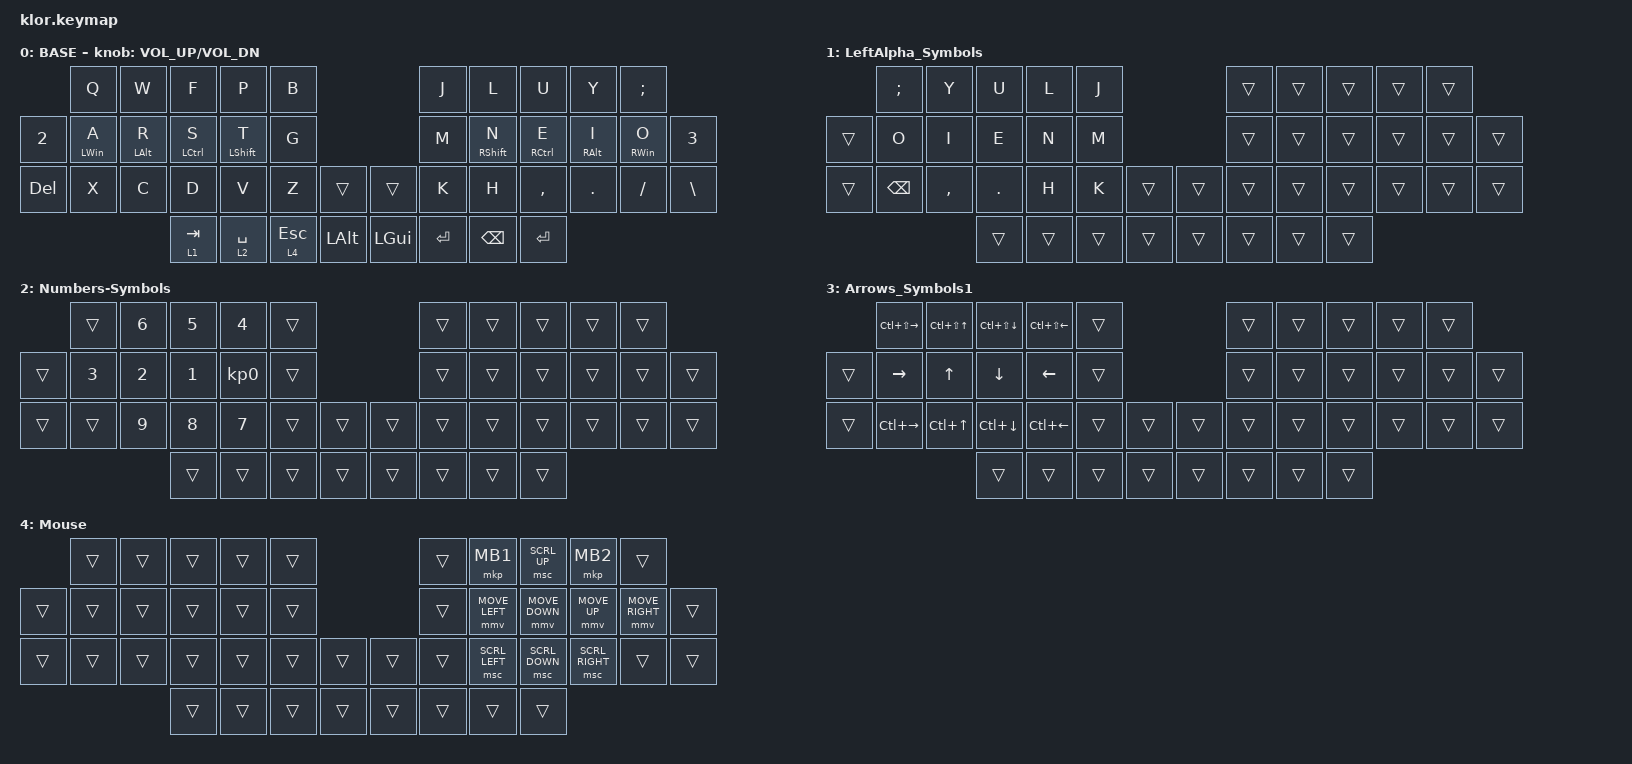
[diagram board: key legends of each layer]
//                               █         █    █            ▄▄▄▀▀▀▀▀▀▄▄▄        █▀▀▀▀▀▀▀▀▀▀█
//                               █        █     █          ▄▀            ▀▄      █          █
//                               █       █      █        ▄▀                ▀▄    █          █
//                               █      █       █        █                  █    █          █
//                               █     █        █       █                    █   █          █
//                               █    █         █       █                    █   █▄▄▄▄▄▄▄▄▄▄█
//                               █   █ █        █       █                    █   █      █
//                               █  █   █       █        █                  █    █       █
//                               █ █     █      █        ▀▄                ▄▀    █        █
//                               ██       █     █          ▀▄            ▄▀      █         █
//                               █         █    █▄▄▄▄▄▄▄▄    ▀▀▀▄▄▄▄▄▄▀▀▀        █          █
//
// ▄▄▄▄▄▄▄▄▄▄▄▄▄▄▄▄▄▄▄▄▄▄▄▄▄▄▄▄▄▄▄▄▄▄▄▄▄▄▄▄▄▄▄▄▄▄▄▄▄▄▄▄▄▄▄▄▄▄▄▄▄▄▄▄▄▄▄▄▄▄▄▄▄▄▄▄▄▄▄▄▄▄▄▄▄▄▄▄▄▄▄▄▄▄▄▄▄▄▄▄▄▄▄▄▄▄▄▄▄▄▄▄▄▄▄▄▄▄▄▄▄▄▄▄▄

#include <behaviors.dtsi>
#include <dt-bindings/zmk/ext_power.h>
#include <dt-bindings/zmk/keys.h>
#include <dt-bindings/zmk/pointing.h>

#define BASE   0
#define LOWER  1
#define RAISE  2
#define ADJUST 3

/ {
    behaviors {
        hm: homerow_mods {
            compatible = "zmk,behavior-hold-tap";
            label = "HOMEROW_MODS";
            #binding-cells = <2>;
            tapping-term-ms = <430>;
            quick_tap_ms = <0>;
            flavor = "tap-preferred";
            bindings = <&kp>, <&kp>;
        };
    };

    combos {
        compatible = "zmk,combos";

        combo_esc {
            timeout-ms = <50>;
            key-positions = <0 1>;
            bindings = <&kp ESC>;
        };

        bootloader_left {
            bindings = <&bootloader>;
            key-positions = <0 10 27>;
            timeout-ms = <100>;
            require-prior-idle-ms = <500>;
            slow-release;
        };

        bootloader_right {
            bindings = <&bootloader>;
            key-positions = <9 21 30>;
            timeout-ms = <100>;
            require-prior-idle-ms = <500>;
            slow-release;
        };

        Wake_up {
            bindings = <&ext_power EP_TOG>;
            key-positions = <16 5>;
        };
    };

    macros {
        ctrl_left: ctrl_left {
            compatible = "zmk,behavior-macro";
            #binding-cells = <0>;
            bindings = <&kp LC(LEFT_ARROW)>;
            label = "CTRL_LEFT";
        };
    };

    keymap {
        compatible = "zmk,keymap";

        // ▄▄▄▄▄▄▄▄▄▄▄▄▄▄▄▄▄▄▄▄▄▄▄▄▄▄▄▄▄▄▄▄▄▄▄▄▄▄▄▄▄▄▄▄▄▄▄▄▄▄▄▄▄▄▄▄▄▄▄▄▄▄▄▄▄▄▄▄▄▄▄▄▄▄▄▄▄▄▄▄▄▄▄▄▄▄▄▄▄▄▄▄▄▄▄▄▄▄▄▄▄▄▄▄▄▄▄▄▄▄▄▄▄▄▄▄▄▄▄▄▄▄▄▄▄▄▄▄▄▄▄▄▄▄▄▄▄▄▄▄▄▄

        base_layer {
            // ┌───────────────────────────────────────────────────────────┐

            label = "BASE";

            // └───────────────────────────────────────────────────────────┘
            /*           ┌─────────┬─────────┬─────────┬─────────┬─────────┐                    ┌─────────┬─────────┬─────────┬─────────┬─────────┐
             │    Q    │    W    │    F    │    P    │    G    │                    │    J    │    L    │    U    │    Y    │    ;    │   
   ┌─────────┼─────────┼─────────┼─────────┼─────────┼─────────┤                    ├─────────┼─────────┼─────────┼─────────┼─────────┼─────────┐
   │   TAB   │    A    │    R    │    S    │    T    │    D    │                    │    H    │    N    │    E    │    I    │    O    │    "    │
   ├─────────┼─────────┼─────────┼─────────┼─────────┼─────────┤╭────────╮╭────────╮├─────────┼─────────┼─────────┼─────────┼─────────┼─────────┤
   │   DEL   │    Z    │    X    │    C    │    V    │    B    ││  MUTE  ││PLY/PSE ││    K    │    M    │    ,    │    .    │    /    │    \    │
   └─────────┴─────────┴─────────┼─────────┼─────────┼─────────┼╰────────╯╰────────╯┼─────────┼─────────┼─────────┼─────────┴─────────┴─────────┘
                                 │  CTRL   │  LOWER  │  SPACE  │   ALT   ││ CMD/WIN │  ENTER  │  RAISE  │  BSPCE  │  
                                 └─────────┴─────────┴─────────┴─────────┘└─────────┴─────────┴─────────┴─────────┘ */

            bindings = <
              &kp Q           &kp W           &kp F        &kp P        &kp B                             &kp J    &kp L          &kp U        &kp Y            &kp SEMI
&kp NUMBER_2  &hm LEFT_WIN A  &hm LEFT_ALT R  &hm LCTRL S  &hm LSHFT T  &kp G                             &kp M    &hm RSHFT N    &hm RCTRL E  &hm RIGHT_ALT I  &hm RIGHT_WIN O  &kp N3
&kp DEL       &kp X           &kp C           &kp D        &kp V        &kp Z         &trans    &trans    &kp K    &kp H          &kp COMMA    &kp DOT          &kp FSLH         &kp BSLH
                                              &lt 1 TAB    &lt 2 SPACE  &lt 4 ESCAPE  &kp LALT  &kp LGUI  &kp RET  &kp BACKSPACE  &kp ENTER
            >;

            sensor-bindings = <&inc_dec_kp C_VOL_UP C_VOL_DN>;
        };

        LeftAlpha_Symbols {
            bindings = <
        &kp SEMI       &kp Y      &kp U    &kp L   &kp J                   &trans  &trans  &trans  &trans  &trans
&trans  &kp O          &kp I      &kp E    &kp N   &kp M                   &trans  &trans  &trans  &trans  &trans  &trans
&trans  &kp BACKSPACE  &kp COMMA  &kp DOT  &kp H   &kp K   &trans  &trans  &trans  &trans  &trans  &trans  &trans  &trans
                                  &trans   &trans  &trans  &trans  &trans  &trans  &trans  &trans
            >;
        };

        Numbers-Symbols {
            bindings = <
        &trans  &kp N6  &kp N5  &kp N4     &trans                  &trans  &trans  &trans  &trans  &trans
&trans  &kp N3  &kp N2  &kp N1  &kp KP_N0  &trans                  &trans  &trans  &trans  &trans  &trans  &trans
&trans  &trans  &kp N9  &kp N8  &kp N7     &trans  &trans  &trans  &trans  &trans  &trans  &trans  &trans  &trans
                        &trans  &trans     &trans  &trans  &trans  &trans  &trans  &trans
            >;
        };

        Arrows_Symbols1 {
            bindings = <
        &kp LC(LS(RIGHT))    &kp LC(LS(UP))  &kp LC(LS(DOWN))  &kp LC(LS(LEFT))  &trans                  &trans  &trans  &trans  &trans  &trans
&trans  &kp RIGHT            &kp UP          &kp DOWN          &kp LEFT          &trans                  &trans  &trans  &trans  &trans  &trans  &trans
&trans  &kp LC(RIGHT_ARROW)  &kp LC(UP)      &kp LC(DOWN)      &kp LC(LEFT)      &trans  &trans  &trans  &trans  &trans  &trans  &trans  &trans  &trans
                                             &trans            &trans            &trans  &trans  &trans  &trans  &trans  &trans
            >;
        };

        Mouse {
            bindings = <
        &trans  &trans  &trans  &trans  &trans                  &trans  &mkp MB1        &msc SCRL_UP    &mkp MB2         &trans
&trans  &trans  &trans  &trans  &trans  &trans                  &trans  &mmv MOVE_LEFT  &mmv MOVE_DOWN  &mmv MOVE_UP     &mmv MOVE_RIGHT  &trans
&trans  &trans  &trans  &trans  &trans  &trans  &trans  &trans  &trans  &msc SCRL_LEFT  &msc SCRL_DOWN  &msc SCRL_RIGHT  &trans           &trans
                        &trans  &trans  &trans  &trans  &trans  &trans  &trans          &trans
            >;
        };
    };
};
